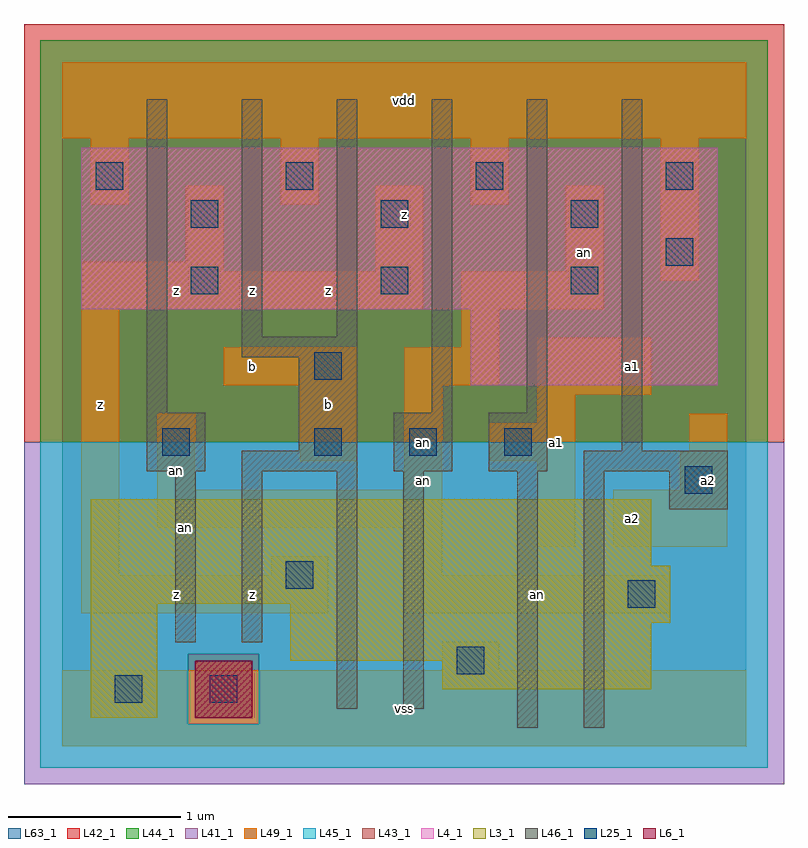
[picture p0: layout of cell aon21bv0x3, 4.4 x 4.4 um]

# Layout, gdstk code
import gdstk
lib = gdstk.Library(unit=1e-6, precision=1e-09)
def R(c, l, rs):  # rectangles x0, y0, x1, y1
    for r in rs: c.add(gdstk.rectangle(r[:2], r[2:], *l))
def A(c, l, x, y, w, h, nx, ny, dx, dy):  # array of equal rectangles
    R(c, l, [(x+i*dx, y+j*dy, x+i*dx+w, y+j*dy+h) for i in range(nx) for j in range(ny)])
L3_1 = (3, 1)
L4_1 = (4, 1)
L6_1 = (6, 1)
L25_1 = (25, 1)
L41_1 = (41, 1)
L42_1 = (42, 1)
L43_1 = (43, 1)
L44_1 = (44, 1)
L45_1 = (45, 1)
L46_1 = (46, 1)
L49_1 = (49, 1)
L63_1 = (63, 1)

aon21bv0x3 = lib.new_cell('aon21bv0x3')
R(aon21bv0x3, L3_1, [(0.165,0.165,0.55,0.825), (2.2,0.33,3.41,0.495), (1.32,0.495,3.41,0.715), (1.32,0.715,3.52,0.825), (0.165,0.825,3.52,1.045), (0.165,1.045,3.41,1.43)])
R(aon21bv0x3, L4_1, [(2.365,2.09,3.795,2.53), (0.11,2.53,3.795,3.465)])
R(aon21bv0x3, L6_1, [(0.77,0.165,1.1,0.495)])
A(aon21bv0x3, L25_1, 1.46, 1.68, 0.16, 0.16, 3, 1, 0.55, 0)
A(aon21bv0x3, L25_1, 0.745, 2.615, 0.16, 0.16, 3, 2, 1.1, 0.385)
A(aon21bv0x3, L25_1, 0.195, 3.22, 0.16, 0.16, 4, 1, 1.1, 0)
R(aon21bv0x3, L25_1, [(0.305,0.25,0.465,0.41), (0.855,0.25,1.015,0.41), (2.285,0.415,2.445,0.575), (3.275,0.8,3.435,0.96), (1.295,0.91,1.455,1.07), (3.605,1.46,3.765,1.62), (0.58,1.68,0.74,1.84), (1.46,2.12,1.62,2.28), (3.495,2.78,3.655,2.94)])
R(aon21bv0x3, L41_1, [(-0.22,-0.22,4.18,1.76)])
R(aon21bv0x3, L42_1, [(-0.22,1.76,4.18,4.18)])
R(aon21bv0x3, L43_1, [(0.165,0.165,0.55,0.825), (0.77,0.165,1.1,0.495), (2.2,0.33,3.41,0.495), (1.32,0.495,3.41,0.715), (1.32,0.715,3.52,0.825), (0.165,0.825,3.52,1.045), (0.165,1.045,3.41,1.43), (2.365,2.09,3.795,2.53), (0.11,2.53,3.795,3.465)])
R(aon21bv0x3, L44_1, [(0.73,0.125,1.14,0.535), (-0.125,1.76,4.085,4.085)])
R(aon21bv0x3, L45_1, [(-0.125,-0.125,4.085,0.125), (-0.125,0.125,0.73,0.535), (1.14,0.125,4.085,0.535), (-0.125,0.535,4.085,1.76)])
R(aon21bv0x3, L46_1, [(2.635,0.105,2.755,1.59), (3.02,0.105,3.14,1.59), (1.59,0.215,1.71,1.59), (1.975,0.215,2.095,1.59), (0.655,0.6,0.775,1.59), (1.04,0.6,1.16,1.59), (3.515,1.37,3.855,1.59), (0.49,1.59,0.83,1.93), (1.04,1.59,1.71,1.71), (1.92,1.59,2.26,1.93), (2.47,1.59,2.81,1.93), (3.02,1.59,3.855,1.71), (1.37,1.71,1.71,2.25), (3.24,1.71,3.36,3.745), (0.49,1.93,0.61,3.745), (2.14,1.93,2.26,3.745), (2.69,1.93,2.81,3.745), (1.04,2.25,1.71,2.37), (1.04,2.37,1.16,3.745), (1.59,2.37,1.71,3.745)])
A(aon21bv0x3, L49_1, 0.165, 3.135, 0.22, 0.385, 3, 1, 1.1, 0)
R(aon21bv0x3, L49_1, [(0,0,3.96,0.44), (2.2,0.44,2.53,0.605), (0.11,0.77,1.54,0.99), (1.98,0.77,3.52,0.99), (0.11,0.99,0.33,2.53), (1.21,0.99,1.54,1.1), (1.98,0.99,2.2,1.265), (2.75,1.155,2.97,1.65), (3.19,1.155,3.85,1.485), (0.55,1.265,2.2,1.485), (0.55,1.485,0.77,1.925), (1.98,1.485,2.2,2.09), (3.575,1.485,3.85,1.705), (1.375,1.65,1.705,2.09), (2.475,1.65,2.97,1.87), (3.63,1.705,3.85,1.925), (2.75,1.87,2.97,2.035), (2.75,2.035,3.41,2.365), (0.935,2.09,1.705,2.31), (1.98,2.09,2.53,2.31), (2.31,2.31,2.53,2.53), (0.11,2.53,2.09,2.75), (2.31,2.53,3.135,2.75), (3.465,2.695,3.685,3.52), (0.11,2.75,0.935,2.805), (1.815,2.75,2.09,3.245), (2.915,2.75,3.135,3.245), (0.715,2.805,0.935,3.245), (0,3.52,3.96,3.96)])
R(aon21bv0x3, L63_1, [(0,0,3.96,3.96)])
aon21bv0x3.add(gdstk.Label('an', (0.715,1.265), layer=46, texttype=1))
aon21bv0x3.add(gdstk.Label('an', (2.09,1.76), layer=49, texttype=1))
aon21bv0x3.add(gdstk.Label('z', (0.22,1.98), layer=49, texttype=1))
aon21bv0x3.add(gdstk.Label('z', (1.1,0.88), layer=49, texttype=1))
aon21bv0x3.add(gdstk.Label('z', (0.66,0.88), layer=49, texttype=1))
aon21bv0x3.add(gdstk.Label('an', (0.66,1.595), layer=49, texttype=1))
aon21bv0x3.add(gdstk.Label('b', (1.1,2.2), layer=49, texttype=1))
aon21bv0x3.add(gdstk.Label('z', (0.66,2.64), layer=49, texttype=1))
aon21bv0x3.add(gdstk.Label('z', (1.1,2.64), layer=49, texttype=1))
aon21bv0x3.add(gdstk.Label('vss', (1.98,0.22), layer=49, texttype=1))
aon21bv0x3.add(gdstk.Label('an', (2.09,1.54), layer=49, texttype=1))
aon21bv0x3.add(gdstk.Label('b', (1.54,1.98), layer=49, texttype=1))
aon21bv0x3.add(gdstk.Label('z', (1.54,2.64), layer=49, texttype=1))
aon21bv0x3.add(gdstk.Label('z', (1.98,3.08), layer=49, texttype=1))
aon21bv0x3.add(gdstk.Label('vdd', (1.98,3.74), layer=49, texttype=1))
aon21bv0x3.add(gdstk.Label('a1', (2.86,1.76), layer=49, texttype=1))
aon21bv0x3.add(gdstk.Label('an', (3.025,2.86), layer=49, texttype=1))
aon21bv0x3.add(gdstk.Label('an', (2.75,0.88), layer=49, texttype=1))
aon21bv0x3.add(gdstk.Label('a2', (3.3,1.32), layer=49, texttype=1))
aon21bv0x3.add(gdstk.Label('a2', (3.74,1.54), layer=49, texttype=1))
aon21bv0x3.add(gdstk.Label('a1', (3.3,2.2), layer=49, texttype=1))

lib.write_gds('aon21bv0x3.gds')
